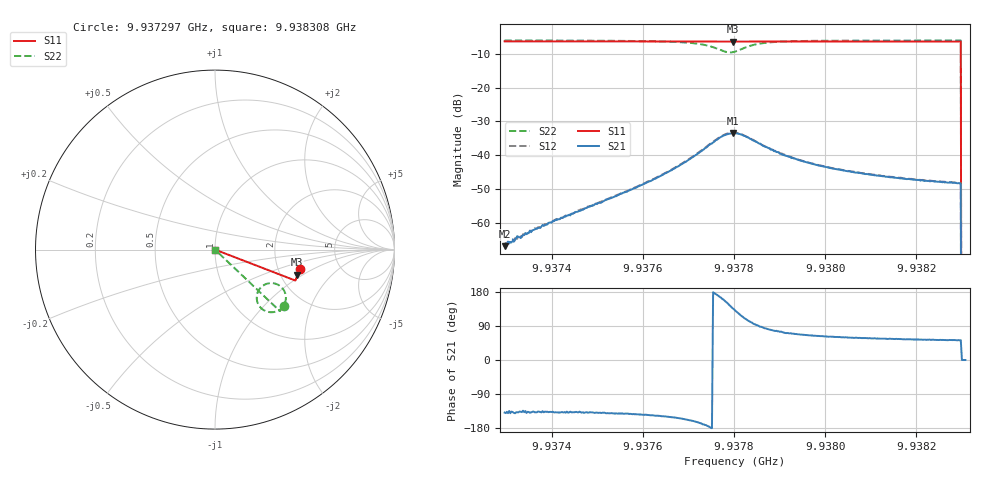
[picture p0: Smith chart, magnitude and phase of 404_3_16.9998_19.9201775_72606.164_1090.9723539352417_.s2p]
#  HZ  S  RI  R  50.00
! Rohde & Schwarz Vector Network Analyzer
! Rohde-Schwarz,ZNB20-2Port,1311601062101988,3.16
! Created: UTC 3/20/2024, 11:10:11 PM
! freq[Hz]  re:S11  im:S11  re:S21  im:S21  re:S12  im:S12  re:S22  im:S22
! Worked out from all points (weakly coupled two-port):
!   401 points, 9.937297 GHz to 9.938308 GHz, reference 50 ohm
!   highest |S21| = -33.43 dB at 9.937797 GHz (marker M1); lowest = -67.0 dB at 9.937297 GHz (marker M2)
!   lowest |S11| = -6.4 dB at 9.937797 GHz (marker M3), VSWR 2.84, Z = 123 - j44.6 ohm
!   |S11| at or under -10 dB: 9.938298 GHz to end of sweep
!   |S22| runs from - to -6.1 dB; largest |S21 - S12| = 0.001
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9.9372968e9  0.4713 -0.1081  -0.000337 -0.000295  -0.000396 -0.000309  0.3842 -0.3166
9.9373019e9  0.4712 -0.1085  -0.000351 -0.000331  -0.000356 -0.000342  0.3837 -0.317
9.9373095e9  0.4709 -0.1091  -0.000396 -0.000328  -0.000389 -0.000374  0.3835 -0.3175
9.9373626e9  0.47 -0.1126  -0.000585 -0.000529  -0.000603 -0.000562  0.3792 -0.3214
9.9374662e9  0.4677 -0.1195  -0.00116 -0.00102  -0.0012 -0.001  0.3692 -0.3297
9.9375698e9  0.4655 -0.1266  -0.00237 -0.00182  -0.0024 -0.0018  0.3535 -0.3393
9.9376355e9  0.4637 -0.131  -0.00402 -0.00258  -0.00414 -0.00257  0.3362 -0.3459
9.9376861e9  0.4623 -0.1343  -0.00666 -0.00313  -0.00686 -0.00304  0.3121 -0.349
9.9377366e9  0.4605 -0.1378  -0.0126 -0.00186  -0.0127 -0.00166  0.266 -0.3336
9.937772e9  0.4587 -0.1393  -0.0179 0.00509  -0.0181 0.00554  0.2323 -0.271
9.9377846e9  0.4584 -0.1395  -0.0178 0.00979  -0.0178 0.0106  0.2394 -0.2342
9.9377973e9  0.4581 -0.1397  -0.0154 0.0147  -0.0152 0.0151  0.2648 -0.2026
9.9378023e9  0.4584 -0.1399  -0.0138 0.0159  -0.0135 0.0166  0.279 -0.1942
9.93782e9  0.4586 -0.1405  -0.00784 0.0179  -0.00723 0.0185  0.3296 -0.1882
9.9378579e9  0.4586 -0.1432  0.000541 0.0147  0.000751 0.0146  0.3857 -0.2299
9.9379059e9  0.4578 -0.1469  0.00287 0.00971  0.00322 0.00997  0.3951 -0.2716
9.9379716e9  0.4562 -0.1513  0.00317 0.00671  0.00335 0.00674  0.3894 -0.2995
9.9380449e9  0.4545 -0.1563  0.00291 0.00505  0.00307 0.00502  0.3817 -0.3153
9.938141e9  0.4519 -0.1625  0.00264 0.00393  0.00276 0.00392  0.3729 -0.3282
9.9382926e9  0.4477 -0.1723  0.00234 0.00305  0.00243 0.00301  0.3612 -0.3414
9.9383053e9  0 0  0 0  0 0  0 0
9.9383078e9  0 0  0 0  0 0  0 0
